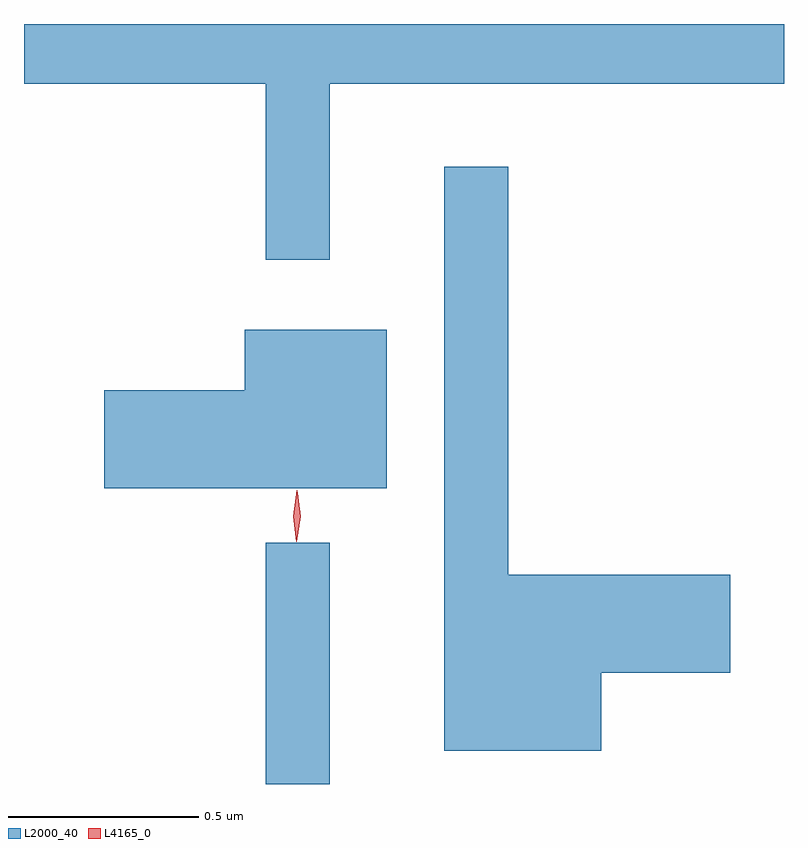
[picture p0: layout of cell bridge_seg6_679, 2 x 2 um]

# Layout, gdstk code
import gdstk
lib = gdstk.Library(unit=1e-6, precision=1e-09)
def R(c, l, rs):  # rectangles x0, y0, x1, y1
    for r in rs: c.add(gdstk.rectangle(r[:2], r[2:], *l))
def P(c, l, *ps):  # polygons
    for p in ps: c.add(gdstk.Polygon(p, *l))
L2000_40 = (2000, 40)
L4165_0 = (4165, 0)

bridge_seg6_679 = lib.new_cell('bridge_seg6_679')
R(bridge_seg6_679, L2000_40, [(317.841,1612.573,318.009,1613.208)])
P(bridge_seg6_679, L2000_40, [(318.009,1614.416),(319.205,1614.416),(319.205,1614.573),(317.205,1614.573),(317.205,1614.416),(317.841,1614.416),(317.841,1613.953),(318.009,1613.953)],
  [(318.724,1612.866),(319.064,1612.866),(319.064,1613.124),(318.479,1613.124),(318.479,1614.198),(318.311,1614.198),(318.311,1612.661),(318.724,1612.661)],
  [(318.159,1613.769),(317.786,1613.769),(317.786,1613.609),(317.416,1613.609),(317.416,1613.351),(318.159,1613.351)])
P(bridge_seg6_679, L4165_0, [(317.922,1613.21),(317.922,1613.21),(317.913,1613.278),(317.923,1613.346),(317.924,1613.346),(317.924,1613.346),(317.933,1613.278),(317.923,1613.21)],
  [(317.922,1613.213),(317.922,1613.214),(317.913,1613.277),(317.924,1613.339),(317.924,1613.34),(317.925,1613.339),(317.933,1613.276),(317.923,1613.214)])

lib.write_gds('bridge_seg6_679.gds')
